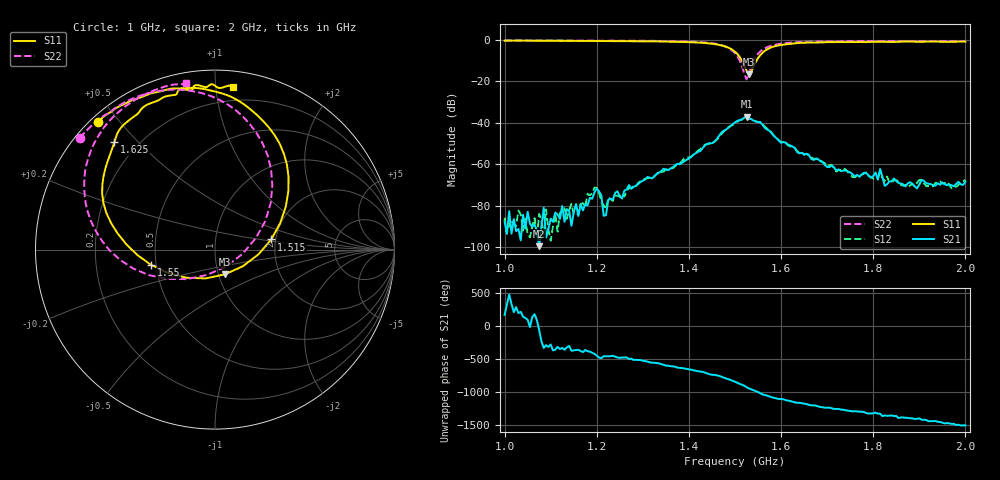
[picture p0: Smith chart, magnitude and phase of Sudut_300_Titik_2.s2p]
# Hz S RI R 50
! CMT, C1220, 16058040, 17.2.0/1
! Date: 14/08/2018 12:49:33
! Data: Format (Calibration Info)
! Freq  S11: Re/Im (F2)  S21: Re/Im (F2)  S12: Re/Im (F2)  S22: Re/Im (F2)
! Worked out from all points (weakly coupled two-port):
!   201 points, 1 GHz to 2 GHz, reference 50 ohm
!   highest |S21| = -36.99 dB at 1.525 GHz (marker M1); lowest = -99.6 dB at 1.075 GHz (marker M2)
!   lowest |S11| = -16.6 dB at 1.53 GHz (marker M3), VSWR 1.35, Z = 53.7 - j15.1 ohm
!   |S11| at or under -10 dB: 1.515 GHz to 1.547 GHz (31.56 MHz wide, 2.06 % of centre)
!   |S22| runs from -19.0 to -0.2 dB; largest |S21 - S12| = 0.00066
!   S11 on the Smith chart (normalised r, x): 1 GHz: 0.02, +0.44; 1.515 GHz: 1.89, +0.24; 1.55 GHz: 0.47, -0.09; 1.625 GHz: 0.12, +0.43; 2 GHz: 0.10, +1.11
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1e9  -0.6519 0.7128  -4.13e-05 6.96e-06  5.08e-05 -2.74e-06  -0.7537 0.6215
1.075e9  -0.5732 0.7711  5.13e-06 -9.06e-06  -3.72e-05 5.06e-05  -0.7007 0.6771
1.17e9  -0.4819 0.8231  6.11e-05 -4.57e-05  9.8e-05 -5.92e-05  -0.6182 0.7468
1.2e9  -0.44 0.8396  2.81e-07 -0.000256  2.8e-05 -0.000266  -0.5849 0.7601
1.22e9  -0.4177 0.8467  -1e-05 -5.76e-05  2.73e-05 -7.84e-05  -0.5738 0.7741
1.335e9  -0.2206 0.8976  -0.000547 0.000298  -0.000533 0.000384  -0.4037 0.8617
1.45e9  0.1821 0.7936  0.003 -0.00113  0.003 -0.00133  0.0181 0.837
1.5e9  0.4088 0.3257  -0.00613 -0.00825  -0.00571 -0.00774  0.3194 0.3572
1.515e9  0.3136 0.0568  -0.0119 -0.00164  -0.0119 -0.00202  0.2268 0.0631
1.525e9  0.1555 -0.0924  -0.0124 0.00683  -0.0126 0.00675  0.0609 -0.0947
1.53e9  0.0556 -0.138  -0.00842 0.00945  -0.00852 0.0095  -0.0461 -0.1417
1.55e9  -0.355 -0.0862  0.00242 0.0101  0.00207 0.0102  -0.4546 -0.106
1.58e9  -0.6213 0.2583  0.00548 -0.000354  0.00566 -0.000573  -0.7087 0.2097
1.625e9  -0.5599 0.6007  0.000886 -0.00251  0.000924 -0.00242  -0.703 0.5183
1.67e9  -0.447 0.7441  -0.000755 -0.00102  -0.000769 -0.00111  -0.6271 0.6685
1.755e9  -0.2809 0.8516  -0.000456 0.00035  -0.000406 0.000276  -0.4927 0.8028
1.81e9  -0.1953 0.8912  -0.000136 0.000399  -0.000158 0.000461  -0.4151 0.8527
1.815e9  -0.1855 0.8929  -0.000227 0.000729  2.65e-05 0.000623  -0.4084 0.8558
1.825e9  -0.1606 0.8911  4.89e-05 0.000295  0.000179 0.00035  -0.3948 0.8624
1.835e9  -0.1377 0.8869  8.62e-05 0.000369  7.64e-05 0.000351  -0.3816 0.8692
1.97e9  0.0549 0.9072  0.000207 -0.000231  0.000161 -0.000205  -0.1915 0.921
2e9  0.1006 0.9068  0.000125 -0.000352  0.000167 -0.000381  -0.1592 0.9301
